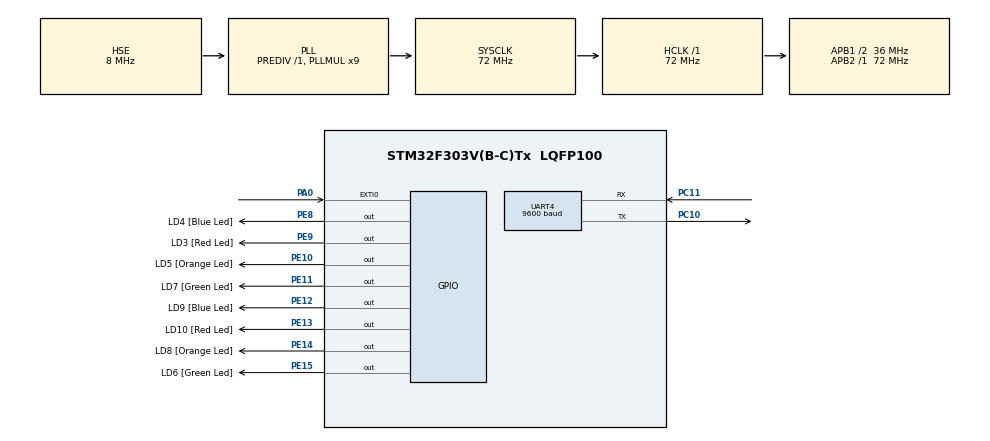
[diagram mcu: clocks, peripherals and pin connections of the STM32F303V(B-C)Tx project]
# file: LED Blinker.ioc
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Mcu.Family=STM32F3
Mcu.Name=STM32F303V(B-C)Tx
Mcu.Package=LQFP100
NVIC.EXTI0_IRQn=true\:0\:0\:false\:false\:true\:true
NVIC.PriorityGroup=NVIC_PRIORITYGROUP_0
NVIC.UART4_IRQn=true\:0\:0\:false\:false\:true\:true
PA0.Signal=GPXTI0
PA11.GPIO_Label=DM
PA11.Signal=USB_DM
PA12.GPIO_Label=DP
PA12.Signal=USB_DP
PA13.GPIO_Label=SWDIO
PA13.Signal=SYS_JTMS-SWDIO
PA14.GPIO_Label=SWCLK
PA14.Signal=SYS_JTCK-SWCLK
PB3.GPIO_Label=SWO
PB3.Signal=SYS_JTDO-TRACESWO
PC10.Mode=Asynchronous
PC10.Signal=UART4_TX
PC11.Mode=Asynchronous
PC11.Signal=UART4_RX
PE10.GPIO_Label=LD5 [Orange Led]
PE10.GPIO_ModeDefaultOutputPP=GPIO_MODE_OUTPUT_PP
PE10.GPIO_PuPd=GPIO_NOPULL
PE10.GPIO_Speed=GPIO_SPEED_FREQ_LOW
PE10.Signal=GPIO_Output
PE11.GPIO_Label=LD7 [Green Led]
PE11.GPIO_ModeDefaultOutputPP=GPIO_MODE_OUTPUT_PP
PE11.GPIO_PuPd=GPIO_NOPULL
PE11.GPIO_Speed=GPIO_SPEED_FREQ_LOW
PE11.Signal=GPIO_Output
PE12.GPIO_Label=LD9 [Blue Led]
PE12.GPIO_ModeDefaultOutputPP=GPIO_MODE_OUTPUT_PP
PE12.GPIO_PuPd=GPIO_NOPULL
PE12.GPIO_Speed=GPIO_SPEED_FREQ_LOW
PE12.Signal=GPIO_Output
PE13.GPIO_Label=LD10 [Red Led]
PE13.GPIO_ModeDefaultOutputPP=GPIO_MODE_OUTPUT_PP
PE13.GPIO_PuPd=GPIO_NOPULL
PE13.GPIO_Speed=GPIO_SPEED_FREQ_LOW
PE13.Signal=GPIO_Output
PE14.GPIO_Label=LD8 [Orange Led]
PE14.GPIO_ModeDefaultOutputPP=GPIO_MODE_OUTPUT_PP
PE14.GPIO_PuPd=GPIO_NOPULL
PE14.GPIO_Speed=GPIO_SPEED_FREQ_LOW
PE14.Signal=GPIO_Output
PE15.GPIO_Label=LD6 [Green Led]
PE15.GPIO_ModeDefaultOutputPP=GPIO_MODE_OUTPUT_PP
PE15.GPIO_PuPd=GPIO_NOPULL
PE15.GPIO_Speed=GPIO_SPEED_FREQ_LOW
PE15.Signal=GPIO_Output
PE8.GPIO_Label=LD4 [Blue Led]
PE8.GPIO_ModeDefaultOutputPP=GPIO_MODE_OUTPUT_PP
PE8.GPIO_PuPd=GPIO_NOPULL
PE8.GPIO_Speed=GPIO_SPEED_FREQ_LOW
PE8.Signal=GPIO_Output
PE9.GPIO_Label=LD3 [Red Led]
PE9.GPIO_ModeDefaultOutputPP=GPIO_MODE_OUTPUT_PP
PE9.GPIO_PuPd=GPIO_NOPULL
PE9.GPIO_Speed=GPIO_SPEED_FREQ_LOW
PE9.Signal=GPIO_Output
PF0-OSC_IN.Mode=HSE-External-Oscillator
PF0-OSC_IN.Signal=RCC_OSC_IN
PF1-OSC_OUT.Mode=HSE-External-Oscillator
PF1-OSC_OUT.Signal=RCC_OSC_OUT
ProjectManager.HeapSize=0x200
ProjectManager.StackSize=0x400
ProjectManager.TargetToolchain=SW4STM32
RCC.AHBFreq_Value=72000000
RCC.APB1CLKDivider=RCC_HCLK_DIV2
RCC.APB1Freq_Value=36000000
RCC.APB1TimFreq_Value=72000000
RCC.APB2Freq_Value=72000000
RCC.APB2TimFreq_Value=72000000
RCC.CortexFreq_Value=72000000
RCC.HCLKFreq_Value=72000000
RCC.HSE_VALUE=8000000
RCC.HSI_VALUE=8000000
RCC.LSE_VALUE=32768
RCC.PLLMUL=RCC_PLL_MUL9
RCC.PLLSourceVirtual=RCC_PLLSOURCE_HSE
RCC.SYSCLKFreq_VALUE=72000000
RCC.SYSCLKSourceVirtual=RCC_SYSCLKSOURCE_PLLCLK
RCC.USBFreq_Value=72000000
RCC.Uart4ClockSelection=RCC_UART4CLKSOURCE_SYSCLK
UART4.BaudRate=9600
board=STM32F3DISCOVERY

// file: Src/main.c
/**
  ******************************************************************************
  * File Name          : main.c
  * Description        : Main program body
  ******************************************************************************
  ** This notice applies to any and all portions of this file
  * that are not between comment pairs USER CODE BEGIN and
  * USER CODE END. Other portions of this file, whether
  * inserted by the user or by software development tools
  * are owned by their respective copyright owners.
  *
  * COPYRIGHT(c) 2017 STMicroelectronics
  *
  * Redistribution and use in source and binary forms, with or without modification,
  * are permitted provided that the following conditions are met:
  *   1. Redistributions of source code must retain the above copyright notice,
  *      this list of conditions and the following disclaimer.
  *   2. Redistributions in binary form must reproduce the above copyright notice,
  *      this list of conditions and the following disclaimer in the documentation
  *      and/or other materials provided with the distribution.
  *   3. Neither the name of STMicroelectronics nor the names of its contributors
  *      may be used to endorse or promote products derived from this software
  *      without specific prior written permission.
  *
  * THIS SOFTWARE IS PROVIDED BY THE COPYRIGHT HOLDERS AND CONTRIBUTORS "AS IS"
  * AND ANY EXPRESS OR IMPLIED WARRANTIES, INCLUDING, BUT NOT LIMITED TO, THE
  * IMPLIED WARRANTIES OF MERCHANTABILITY AND FITNESS FOR A PARTICULAR PURPOSE ARE
  * DISCLAIMED. IN NO EVENT SHALL THE COPYRIGHT HOLDER OR CONTRIBUTORS BE LIABLE
  * FOR ANY DIRECT, INDIRECT, INCIDENTAL, SPECIAL, EXEMPLARY, OR CONSEQUENTIAL
  * DAMAGES (INCLUDING, BUT NOT LIMITED TO, PROCUREMENT OF SUBSTITUTE GOODS OR
  * SERVICES; LOSS OF USE, DATA, OR PROFITS; OR BUSINESS INTERRUPTION) HOWEVER
  * CAUSED AND ON ANY THEORY OF LIABILITY, WHETHER IN CONTRACT, STRICT LIABILITY,
  * OR TORT (INCLUDING NEGLIGENCE OR OTHERWISE) ARISING IN ANY WAY OUT OF THE USE
  * OF THIS SOFTWARE, EVEN IF ADVISED OF THE POSSIBILITY OF SUCH DAMAGE.
  *
  ******************************************************************************
  */

#include "main.h"
#include "stm32f3xx_hal.h"

/* USER CODE BEGIN Includes */
#include <string.h>
#include <stdio.h>
#include <stdlib.h>
#include <errno.h>

#define TIME_ON         (500) // in ms delay

#define BUFFER_RX_SIZE  (0x100)
#define BUFFER_TX_SIZE  (0x100)
/* USER CODE END Includes */

UART_HandleTypeDef huart4;

/* USER CODE BEGIN PV */
/* Private variables ---------------------------------------------------------*/
volatile uint32_t     reset,  // change in interrupt handler for user button (blue)
                      state,
                      time_on     = TIME_ON,
                      was_command = 0;

volatile uint32_t _i = 0;

uint8_t   rx_buff[BUFFER_RX_SIZE] = {0};
uint8_t   tx_buff[BUFFER_TX_SIZE] = {0};

uint8_t   rx_data[2]              = {0};

volatile uint16_t  mesg_length    = 0;

// NOTE! don`t change command position in this array
static const uint8_t * commands[] =
  {
    (uint8_t *) "help",
    (uint8_t *) "set direction=left",
    (uint8_t *) "set direction=right",
    (uint8_t *) "set interval="
  };

#define number_commands (sizeof(commands) / sizeof(uint8_t * ))

static const uint8_t * info[] =
  {
    (uint8_t *) "\r\nUnknown command or incorrect argument!!!\r\n>",
    (uint8_t *) "\r\nOK!\r\n>"
  };

static const uint8_t msg_help[] =
  "\r\nInstructions for use!"
  "\r\n\r\n\t\tOPTIONS:\r\n"
  "    set direction=[left|right]\r\n"
  "    set interval=number_of_milliseconds_between_switching_of_LEDs\r\n\r\n"
  "    help - show this text\r\n\r\n>";

static uint32_t const leds[] =
   {
       GPIO_PIN_9  , GPIO_PIN_10 , GPIO_PIN_11 , GPIO_PIN_12 ,
       GPIO_PIN_13 , GPIO_PIN_14 , GPIO_PIN_15 , GPIO_PIN_8  ,

       GPIO_PIN_9  , GPIO_PIN_8  , GPIO_PIN_15 , GPIO_PIN_14 ,
       GPIO_PIN_13 , GPIO_PIN_12 , GPIO_PIN_11 , GPIO_PIN_10
   };

#define number_leds (sizeof(leds) / sizeof(leds[0]) / 2)

/* USER CODE END PV */

void SystemClock_Config(void);
static void MX_GPIO_Init(void);
static void MX_UART4_Init(void);

/* USER CODE BEGIN PFP */
/* Private function prototypes -----------------------------------------------*/
void HAL_UART_RxCpltCallback(UART_HandleTypeDef *huart);
/* USER CODE END PFP */

/* USER CODE BEGIN 0 */
void RingBlinkerHandler(){
  static uint32_t i = 0;
  // turn on/off LEDs
  HAL_GPIO_TogglePin(GPIOE, leds[i + state * number_leds]);

  // turn off all LEDs if reset set
  if(reset){
    for(uint32_t j = 0; j < number_leds; ++j){
      HAL_GPIO_WritePin(GPIOE, leds[j], GPIO_PIN_RESET);
    }
    reset = 0;
    i     = 0;
  }
  else{
    i = (++i) % number_leds;
  }
}

static uint32_t SetDirectionLeft(uint32_t position, uint8_t * str){

  if(str[strlen((char*)commands[position])] != 0){
    return 0;
  }

  reset = 1;
  state = 1;
  return 1;
}

static uint32_t SetDirectionRight(uint32_t position, uint8_t * str){

  if(str[strlen((char*)commands[position])] != 0){
    return 0;
  }

  reset = 1;
  state = 0;
  return 1;
}

static uint32_t ShowHelp(uint32_t position, uint8_t * str){
  if(str[strlen((char*)commands[position])] != 0){
    return 0;
  }

  HAL_UART_Transmit_IT(&huart4, (uint8_t * ) msg_help, strlen((char*)msg_help));

  return 1;
}

static uint32_t SetInterval(uint32_t position, uint8_t * str){
  uint32_t start_nums = strlen((char*)commands[position]);

  uint32_t _time = strtoul((char*)(str + start_nums), (char**)&str, 10);

  if(!_time || *str != '\0' || errno == ERANGE){
    return 0;
  }

  time_on = _time;
  reset   = 1;
  return 1;
}

typedef uint32_t (*pfnCommands)(uint32_t, uint8_t *);

pfnCommands hCommands[] =
  {
    ShowHelp,
    SetDirectionLeft,
    SetDirectionRight,
    SetInterval
  };

void ParseCommand(){
  if(mesg_length == 0){
    HAL_UART_Transmit_IT(&huart4, (uint8_t * ) "\r\n>", sizeof "\r\n>");
    return;
  }

    uint8_t * substr_ptr = 0;

    for(uint32_t i = 0; i < number_commands; ++i){
      substr_ptr = (uint8_t *) strstr((char*) tx_buff, (char *) commands[i]);
      if (substr_ptr){
        if(substr_ptr != tx_buff){
          substr_ptr = 0;
          break;
        }
        substr_ptr = (uint8_t *) hCommands[i](i, substr_ptr);
        break;
      }
    }

    HAL_UART_Transmit_IT(&huart4, (uint8_t * )info[(uint32_t)substr_ptr], strlen((char*)info[(uint32_t)substr_ptr]));
}

/* USER CODE END 0 */

int main(void)
{

  /* MCU Configuration----------------------------------------------------------*/

  /* Reset of all peripherals, Initializes the Flash interface and the Systick. */
  HAL_Init();

  /* Configure the system clock */
  SystemClock_Config();

  /* Initialize all configured peripherals */
  MX_GPIO_Init();
  MX_UART4_Init();

  /* USER CODE BEGIN 2 */
  sprintf((char*)tx_buff, "\r\n>");
  HAL_UART_Transmit_IT(&huart4, tx_buff, sizeof("\r\n>"));
  HAL_UART_Receive_IT(&huart4, rx_data, 1);
  /* USER CODE END 2 */

  /* Infinite loop */
  /* USER CODE BEGIN WHILE */
  uint32_t tickstart = HAL_GetTick();
  while (1)
  {
    if((HAL_GetTick() - tickstart) >= time_on || reset){
      tickstart = HAL_GetTick();
      RingBlinkerHandler();
    }
  /* USER CODE END WHILE */

  /* USER CODE BEGIN 3 */
    if(was_command){
      was_command = 0;
      sprintf((char*)tx_buff, "%s", rx_buff);
      ParseCommand();
    }
  }
  /* USER CODE END 3 */

}

/** System Clock Configuration
*/
void SystemClock_Config(void)
{

  RCC_OscInitTypeDef RCC_OscInitStruct;
  RCC_ClkInitTypeDef RCC_ClkInitStruct;
  RCC_PeriphCLKInitTypeDef PeriphClkInit;

    /**Initializes the CPU, AHB and APB busses clocks
    */
  RCC_OscInitStruct.OscillatorType = RCC_OSCILLATORTYPE_HSE;
  RCC_OscInitStruct.HSEState = RCC_HSE_ON;
  RCC_OscInitStruct.HSEPredivValue = RCC_HSE_PREDIV_DIV1;
  RCC_OscInitStruct.HSIState = RCC_HSI_ON;
  RCC_OscInitStruct.PLL.PLLState = RCC_PLL_ON;
  RCC_OscInitStruct.PLL.PLLSource = RCC_PLLSOURCE_HSE;
  RCC_OscInitStruct.PLL.PLLMUL = RCC_PLL_MUL9;
  if (HAL_RCC_OscConfig(&RCC_OscInitStruct) != HAL_OK)
  {
    _Error_Handler(__FILE__, __LINE__);
  }

    /**Initializes the CPU, AHB and APB busses clocks
    */
  RCC_ClkInitStruct.ClockType = RCC_CLOCKTYPE_HCLK|RCC_CLOCKTYPE_SYSCLK
                              |RCC_CLOCKTYPE_PCLK1|RCC_CLOCKTYPE_PCLK2;
  RCC_ClkInitStruct.SYSCLKSource = RCC_SYSCLKSOURCE_PLLCLK;
  RCC_ClkInitStruct.AHBCLKDivider = RCC_SYSCLK_DIV1;
  RCC_ClkInitStruct.APB1CLKDivider = RCC_HCLK_DIV2;
  RCC_ClkInitStruct.APB2CLKDivider = RCC_HCLK_DIV1;

  if (HAL_RCC_ClockConfig(&RCC_ClkInitStruct, FLASH_LATENCY_2) != HAL_OK)
  {
    _Error_Handler(__FILE__, __LINE__);
  }

  PeriphClkInit.PeriphClockSelection = RCC_PERIPHCLK_UART4;
  PeriphClkInit.Uart4ClockSelection = RCC_UART4CLKSOURCE_SYSCLK;
  if (HAL_RCCEx_PeriphCLKConfig(&PeriphClkInit) != HAL_OK)
  {
    _Error_Handler(__FILE__, __LINE__);
  }

    /**Configure the Systick interrupt time
    */
  HAL_SYSTICK_Config(HAL_RCC_GetHCLKFreq()/1000);

    /**Configure the Systick
    */
  HAL_SYSTICK_CLKSourceConfig(SYSTICK_CLKSOURCE_HCLK);

  /* SysTick_IRQn interrupt configuration */
  HAL_NVIC_SetPriority(SysTick_IRQn, 0, 0);
}

/* UART4 init function */
static void MX_UART4_Init(void)
{

  huart4.Instance = UART4;
  huart4.Init.BaudRate = 9600;
  huart4.Init.WordLength = UART_WORDLENGTH_8B;
  huart4.Init.StopBits = UART_STOPBITS_1;
  huart4.Init.Parity = UART_PARITY_NONE;
  huart4.Init.Mode = UART_MODE_TX_RX;
  huart4.Init.HwFlowCtl = UART_HWCONTROL_NONE;
  huart4.Init.OverSampling = UART_OVERSAMPLING_16;
  huart4.Init.OneBitSampling = UART_ONE_BIT_SAMPLE_DISABLE;
  huart4.AdvancedInit.AdvFeatureInit = UART_ADVFEATURE_NO_INIT;
  if (HAL_UART_Init(&huart4) != HAL_OK)
  {
    _Error_Handler(__FILE__, __LINE__);
  }

}

/** Configure pins as
        * Analog
        * Input
        * Output
        * EVENT_OUT
        * EXTI
     PA11   ------> USB_DM
     PA12   ------> USB_DP
*/
static void MX_GPIO_Init(void)
{

  GPIO_InitTypeDef GPIO_InitStruct;

  /* GPIO Ports Clock Enable */
  __HAL_RCC_GPIOF_CLK_ENABLE();
  __HAL_RCC_GPIOA_CLK_ENABLE();
  __HAL_RCC_GPIOE_CLK_ENABLE();
  __HAL_RCC_GPIOC_CLK_ENABLE();
  __HAL_RCC_GPIOB_CLK_ENABLE();

  /*Configure GPIO pin Output Level */
  HAL_GPIO_WritePin(GPIOE, LD4_Pin|LD3_Pin|LD5_Pin|LD7_Pin
                          |LD9_Pin|LD10_Pin|LD8_Pin|LD6_Pin, GPIO_PIN_RESET);

  /*Configure GPIO pin : PA0 */
  GPIO_InitStruct.Pin = GPIO_PIN_0;
  GPIO_InitStruct.Mode = GPIO_MODE_IT_RISING;
  GPIO_InitStruct.Pull = GPIO_NOPULL;
  HAL_GPIO_Init(GPIOA, &GPIO_InitStruct);

  /*Configure GPIO pins : LD4_Pin LD3_Pin LD5_Pin LD7_Pin
                           LD9_Pin LD10_Pin LD8_Pin LD6_Pin */
  GPIO_InitStruct.Pin = LD4_Pin|LD3_Pin|LD5_Pin|LD7_Pin
                          |LD9_Pin|LD10_Pin|LD8_Pin|LD6_Pin;
  GPIO_InitStruct.Mode = GPIO_MODE_OUTPUT_PP;
  GPIO_InitStruct.Pull = GPIO_NOPULL;
  GPIO_InitStruct.Speed = GPIO_SPEED_FREQ_LOW;
  HAL_GPIO_Init(GPIOE, &GPIO_InitStruct);

  /*Configure GPIO pins : DM_Pin DP_Pin */
  GPIO_InitStruct.Pin = DM_Pin|DP_Pin;
  GPIO_InitStruct.Mode = GPIO_MODE_AF_PP;
  GPIO_InitStruct.Pull = GPIO_NOPULL;
  GPIO_InitStruct.Speed = GPIO_SPEED_FREQ_HIGH;
  GPIO_InitStruct.Alternate = GPIO_AF14_USB;
  HAL_GPIO_Init(GPIOA, &GPIO_InitStruct);

  /* EXTI interrupt init*/
  HAL_NVIC_SetPriority(EXTI0_IRQn, 0, 0);
  HAL_NVIC_EnableIRQ(EXTI0_IRQn);

}

/* USER CODE BEGIN 4 */

void HAL_GPIO_EXTI_Callback(uint16_t GPIO_Pin){
  if(GPIO_Pin == GPIO_PIN_0){
    state ^= 0x01;
    reset  = 0x01;
  }
}

volatile HAL_StatusTypeDef RX_status = HAL_OK;
volatile HAL_StatusTypeDef TX_status = HAL_OK;

void HAL_UART_RxCpltCallback(UART_HandleTypeDef *huart){
  if(huart->Instance == UART4){
    uint8_t sym = rx_data[0];

    if(isalnum((int)sym) || sym == '\n' || sym == '\r' || sym == '=' || sym == '\b' || sym == ' '){

      if(sym == '\b'){
        if(_i > 0){
          do{
          HAL_UART_AbortTransmit_IT(huart);
            TX_status = HAL_UART_Transmit_IT(huart, (uint8_t * )"\b \b", sizeof("\b \b"));
          }while(TX_status != HAL_OK);
          --_i;
        }
        goto _exit;
      }

      if(_i == sizeof(rx_buff) - 2 && sym != '\r'){
        goto _exit;
      }

      rx_buff[_i] = sym;

      if(rx_buff[_i] == '\r'){
        rx_buff[_i]     = 0;
        mesg_length     = _i;
        _i              = 0;
        was_command     = 1;
      }
      else{
        do{
          HAL_UART_AbortTransmit_IT(huart);
        TX_status = HAL_UART_Transmit_IT(huart, rx_data, 1);
      }while(TX_status != HAL_OK);
        ++_i;
      }
    }
    _exit:
   do{
     RX_status = HAL_UART_Receive_IT(huart,  rx_data, 1);
   }while(RX_status != HAL_OK);
  }
}
/* USER CODE END 4 */

void _Error_Handler(char * file, int line)
{
  while(1)
  {
  }
}

/************************ (C) COPYRIGHT STMicroelectronics *****END OF FILE****/
